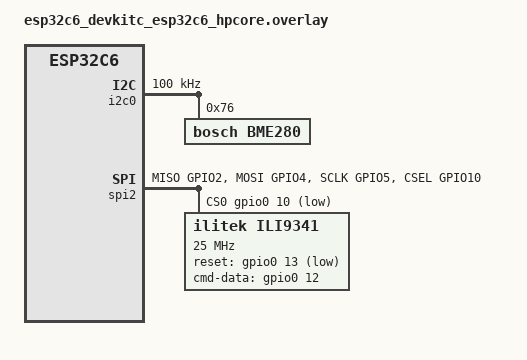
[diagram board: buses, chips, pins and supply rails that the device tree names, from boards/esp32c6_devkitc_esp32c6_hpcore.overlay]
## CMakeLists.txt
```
cmake_minimum_required(VERSION 3.20.0)

find_package(Zephyr REQUIRED HINTS $ENV{ZEPHYR_BASE})
project(smart_feeder)

target_include_directories(app PRIVATE include)

target_sources(app PRIVATE
    src/main.c
    src/shell_commands.c
    src/configuration.c
    src/init.c
    src/motor_control.c
    src/check_health.c
    src/watchdog.c
    src/communication.c
)
```

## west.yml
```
manifest:
  projects:
    - name: zephyr
      url: https://github.com/zephyrproject-rtos/zephyr
      revision: v4.3.0
      path: zephyr
      west-commands: scripts/west-commands.yml
      import: 
          path-prefix: deps
  self:
    path: app
```

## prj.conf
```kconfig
# Shell configuration
CONFIG_SHELL=y
CONFIG_SHELL_BACKEND_SERIAL=y

# Flash and NVS support
CONFIG_FLASH=y
CONFIG_FLASH_MAP=y
CONFIG_NVS=y
CONFIG_NVS_LOG_LEVEL_DBG=y

# Logging
CONFIG_LOG=y
CONFIG_LOG_DEFAULT_LEVEL=3

CONFIG_REBOOT=y
CONFIG_WATCHDOG=y
```

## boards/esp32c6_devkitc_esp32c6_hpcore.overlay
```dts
&pinctrl {
    i2c0_default: i2c0_default {
        group1 {
            pinmux = <I2C0_SDA_GPIO6>,
                     <I2C0_SCL_GPIO7>;
            bias-pull-up;
            drive-open-drain;
            output-high;
        };
    };

    spi2_default: spi2_default {
        group1 {
            pinmux = <SPIM2_MISO_GPIO2>,
                     <SPIM2_MOSI_GPIO4>,
                     <SPIM2_SCLK_GPIO5>;
        };
        group2 {
            pinmux = <SPIM2_CSEL_GPIO10>;
            output-low;
        };
    };
};

&i2c0 {
    status = "okay";
    pinctrl-0 = <&i2c0_default>;
    pinctrl-names = "default";
    clock-frequency = <I2C_BITRATE_STANDARD>;
    
    bme280: bme280@76 {
        compatible = "bosch,bme280";
        reg = <0x76>;
        label = "BME280";
    };
};

&spi2 {
    status = "okay";
    pinctrl-0 = <&spi2_default>;
    pinctrl-names = "default";
    cs-gpios = <&gpio0 10 GPIO_ACTIVE_LOW>;
    
    ili9341: ili9341@0 {
        compatible = "ilitek,ili9341";
        reg = <0>;
        label = "ILI9341";
        spi-max-frequency = <25000000>;
        reset-gpios = <&gpio0 13 GPIO_ACTIVE_LOW>;
        cmd-data-gpios = <&gpio0 12 GPIO_ACTIVE_HIGH>;
    };
};
```

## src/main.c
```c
#include <zephyr/kernel.h>
#include <zephyr/logging/log.h>
#include <zephyr/drivers/watchdog.h>
#include "init.h"
#include "motor_control.h"
#include "check_health.h"
#include "watchdog.h"
#include "communication.h"

LOG_MODULE_REGISTER(main, LOG_LEVEL_INF);

// TODO: search a way to run  test locally on our hardware instead of native sim
// TODO: the run + code checker should run now on our hardware too
// TODO: We can use a FOTA to actualize the firmware.
int main(void)
{
    /* INFO: start all the hardware related stuff */
    processes_init();

    /*INFO: start all the threads of the system */
    start_motor_control_thread();
    start_check_health_thread();
    start_comm_thread();

    while (1) {
        if (is_system_healthy()) {
            watchdog_feed();
        } else {
            LOG_WRN("System unhealthy");
        }

        k_sleep(K_MSEC(SUPERVISOR_CHECK_INTERVAL_MS));
    }

    return 0;
}
```

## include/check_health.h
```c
#ifndef CHECK_HEALTH_H
#define CHECK_HEALTH_H

#include <stdint.h>
#include <stdbool.h>

#define CHECK_HEALTH_STACK       512
#define CHECK_HEALTH_PRIORITY    5
#define THREAD_TIMEOUT_MS        500
#define HEALTH_CHECK_INTERVAL_MS 100

typedef enum {
    THREAD_MOTOR_CONTROL = 0,
    THREAD_COMMUNICATION,
    THREAD_COUNT
} thread_id_t;

/**
 * @brief: Starts the check health thread
 */
void start_check_health_thread(void);

/**
 * @brief: Threads call this to report they're alive
 * @param: thread_id Which thread is reporting
 */
// TODO: unit test left to do
void thread_report_alive(thread_id_t thread_id);

/**
 * @brief: Main supervisor calls this to check overall system health
 * @return: true if all monitored systems are healthy, false otherwise
 */
// TODO: unit tests left
bool is_system_healthy(void);

#ifdef SMART_FEEDER_UNIT_TEST
/**
 * @brief: Stops the motor control thread
 */
void stop_check_health_thread(void);
#endif

#endif
```

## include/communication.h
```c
#ifndef COMMUNICATION_H
#define COMMUNICATION_H

#define COMMUNICATION_STACK    512
#define COMMUNICATION_PRIORITY 4

/**
 * @brief: starts the communication thread
 */
void start_comm_thread(void);

#ifdef SMART_FEEDER_UNIT_TEST
/**
 * @brief: Stops the motor control thread
 */
void stop_comm_thread(void);
#endif

#endif
```

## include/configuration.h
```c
#ifndef CONFIGURATION_H
#define CONFIGURATION_H

#define CONFIG_ID 1

struct config {
    int random_value;
};

extern struct config cfg;

/**
 * @brief: Initialize the nvs to use it
 * @return: 0 on sucess
 */
int init_nvs(void);

/**
 * @brief: Save the current configuration to the nvs
 * @return: 0 on success
 */
int save_config(void);

/**
 * @brief: Reads the current config stored on the nvs
 * @return: 0 on success
 */
int load_config(void);

/**
 * @brief: Loads the defaults values if nothing is saved on the NVS
 */
void set_dflt_cfg(void);

#endif
```

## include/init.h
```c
#ifndef INIT_H
#define INIT_H

/**
 * @brief: Initialize all application subsystems
 *
 * @return: 0 on success, negative error code on failure
 */
int processes_init(void);

#endif
```

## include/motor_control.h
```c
#ifndef MOTOR_CONTROL_H
#define MOTOR_CONTROL_H

#define MOTOR_CTRL_STACK    512
#define MOTOR_CTRL_PRIORITY 1

/**
 * @brief: Starts the motor control thread
 */
void start_motor_control_thread(void);

#ifdef SMART_FEEDER_UNIT_TEST
/**
 * @brief: Stops the motor control thread
 */
void stop_motor_control_thread(void);
#endif

#endif
```

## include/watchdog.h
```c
#ifndef WATCHDOG_H
#define WATCHDOG_H

#define WDT_TIMEOUT_MS               1000
#define SUPERVISOR_CHECK_INTERVAL_MS 500

/**
 * @brief: feeds the watchdog so the board doesn't reset
 */
void watchdog_feed(void);

/**
 * @brief: Initializes the watchdog
 * @return: 0 on success, errorcode otherwise
 */
int init_watchdog(void);

/**
 * @brief: Disables the watchdog
 */
void watchdog_disable(void);

#endif
```

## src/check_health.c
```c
/**
 * @file: check_healt.c
 * @brief: Monitoring of the system.
 *
 * Here we have all the monitoring of the non time critical stuff, like battery, temp, etc.
 */
#include <zephyr/kernel.h>
#include <zephyr/logging/log.h>
#include "check_health.h"

LOG_MODULE_REGISTER(check_health, LOG_LEVEL_INF);
K_THREAD_STACK_DEFINE(health_stack_area, CHECK_HEALTH_STACK);

/* Local prototypes */
static bool check_threads_health(void);

static struct k_thread health_thread_data;
static struct {
    uint32_t last_heartbeat[THREAD_COUNT];
    struct k_spinlock lock;
    bool threads_ok;
    // TODO: here we will add other things like battery, temperature, etc
} health_status;

static k_tid_t health_tid = NULL;

/**
 * @brief: Thread that checks general system info
 */
void check_health_thread(void *p1, void *p2, void *p3)
{
    ARG_UNUSED(p1);
    ARG_UNUSED(p2);
    ARG_UNUSED(p3);

    size_t unused_stack;

    LOG_INF("Check health started at priority: %d", CHECK_HEALTH_PRIORITY);

    while (1) {
        k_thread_stack_space_get(&health_thread_data, &unused_stack);
        LOG_INF("Check health loop. Unused stack: %d bytes", unused_stack);

        check_threads_health();
        k_sleep(K_MSEC(HEALTH_CHECK_INTERVAL_MS));
    }
}

void start_check_health_thread(void)
{
    uint32_t now = k_uptime_get_32();

    for (int i = 0; i < THREAD_COUNT; i++) {
        health_status.last_heartbeat[i] = now;
    }
    health_status.threads_ok = true;

    health_tid = k_thread_create(&health_thread_data,
                                 health_stack_area,
                                 K_THREAD_STACK_SIZEOF(health_stack_area),
                                 check_health_thread,
                                 NULL,
                                 NULL,
                                 NULL,
                                 CHECK_HEALTH_PRIORITY,
                                 0,
                                 K_NO_WAIT);

    LOG_INF("Check health thread started (tid=%p)", (void *)health_tid);
}

// TODO: Unit tests
void thread_report_alive(thread_id_t thread_id)
{
    uint32_t now;

    if (thread_id >= THREAD_COUNT) {
        return;
    }

    now = k_uptime_get_32();
    k_spinlock_key_t key = k_spin_lock(&health_status.lock);
    health_status.last_heartbeat[thread_id] = now;
    k_spin_unlock(&health_status.lock, key);
}

/**
 * @brief: checks the health of all the threads
 * @return: true if all threads are ok, false otherwise
 */
static bool check_threads_health(void)
{
    uint32_t now = k_uptime_get_32();
    bool all_ok = true;

    for (int i = 0; i < THREAD_COUNT; i++) {
        uint32_t last_hb;
        uint32_t elapsed;

        k_spinlock_key_t key = k_spin_lock(&health_status.lock);
        last_hb = health_status.last_heartbeat[i];
        k_spin_unlock(&health_status.lock, key);

        elapsed = now - last_hb;
        if (elapsed > THREAD_TIMEOUT_MS) {
            LOG_INF("Thread %d not responding (last seen %u ms ago)", i, elapsed);
            all_ok = false;
        }
    }

    k_spinlock_key_t key = k_spin_lock(&health_status.lock);
    health_status.threads_ok = all_ok;
    k_spin_unlock(&health_status.lock, key);

    return all_ok;
}

bool is_system_healthy(void)
{
    bool healthy;
    k_spinlock_key_t key = k_spin_lock(&health_status.lock);
    // TODO:  we should add ands to check everything, like battery health
    healthy = health_status.threads_ok;
    k_spin_unlock(&health_status.lock, key);

    return healthy;
}

#ifdef SMART_FEEDER_UNIT_TEST
void stop_check_health_thread(void)
{
    if (health_tid != NULL) {
        LOG_INF("Stopping check health thread");
        k_thread_abort(health_tid);
        health_tid = NULL;
    }
}
#endif
```

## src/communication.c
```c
/**
 * @file: communication.c
 * @brief: Thread that is in charge of the comms.
 *
 * In this file, is the main communication thread, that will take charge of interfacing with the pc/app or other nodes
 */
#include <zephyr/kernel.h>
#include <zephyr/logging/log.h>
#include "communication.h"
#include "check_health.h"

LOG_MODULE_REGISTER(communication, LOG_LEVEL_INF);
K_THREAD_STACK_DEFINE(comm_stack_area, COMMUNICATION_STACK);

static struct k_thread communication_thread_data;

static k_tid_t comm_tid = NULL;

// TODO: should be always listenning and use work_queue when we need to transmit something
/**
 * @brief: starts the communication thread
 */
void comm_thread(void *p1, void *p2, void *p3)
{
    ARG_UNUSED(p1);
    ARG_UNUSED(p2);
    ARG_UNUSED(p3);

    size_t unused_stack;

    LOG_INF("Comm thread started with priority: %d", COMMUNICATION_PRIORITY);

    while (1) {
        k_thread_stack_space_get(&communication_thread_data, &unused_stack);
        thread_report_alive(THREAD_COMMUNICATION);
        LOG_INF("Communication loop. Unused stack: %d bytes", unused_stack);
        k_sleep(K_MSEC(100));
    }
}

void start_comm_thread(void)
{
    comm_tid = k_thread_create(&communication_thread_data,
                               comm_stack_area,
                               K_THREAD_STACK_SIZEOF(comm_stack_area),
                               comm_thread,
                               NULL,
                               NULL,
                               NULL,
                               COMMUNICATION_PRIORITY,
                               0,
                               K_NO_WAIT);

    LOG_INF("Communication thread started (tid=%p)", (void *)comm_tid);
}

#ifdef SMART_FEEDER_UNIT_TEST
void stop_comm_thread(void)
{
    if (comm_tid != NULL) {
        LOG_INF("Stopping communication thread");
        k_thread_abort(comm_tid);
        comm_tid = NULL;
    }
}

#endif /* ifdef MACRO */
```

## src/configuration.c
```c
/**
 * @file: configuration.c
 * @brief: NVS related things.
 *
 * Here we have all the things related to the configuration that we want on the non-volatile storage
 */
#include <zephyr/fs/nvs.h>
#include <zephyr/kernel.h>
#include <zephyr/device.h>
#include <zephyr/drivers/flash.h>
#include <zephyr/storage/flash_map.h>
#include <zephyr/logging/log.h>
#include "configuration.h"

LOG_MODULE_REGISTER(configuration, LOG_LEVEL_INF);
// TODO: add description to the file

struct config cfg;
struct nvs_fs fs;

int init_nvs(void)
{
    struct flash_pages_info info;
    int ret;

    fs.flash_device = FIXED_PARTITION_DEVICE(storage_partition);
    if (!device_is_ready(fs.flash_device)) {
        LOG_ERR("Flash device not ready\n");
        return -ENODEV;
    }

    fs.offset = FIXED_PARTITION_OFFSET(storage_partition);

    ret = flash_get_page_info_by_offs(fs.flash_device, fs.offset, &info);
    if (ret) {
        LOG_ERR("Unable to get page info: %d\n", ret);
        return ret;
    }

    fs.sector_size = info.size;
    fs.sector_count = 3;
    ret = nvs_mount(&fs);
    if (ret) {
        LOG_ERR("NVS mount failed: %d\n", ret);
        return ret;
    }

    LOG_INF("NVS initialized\n");
    return 0;
}

int save_config(void)
{
    int ret;

    ret = nvs_write(&fs, CONFIG_ID, &cfg, sizeof(cfg));
    if (ret < 0) {
        LOG_ERR("Failed to write config: %d\n", ret);
        return ret;
    }

    LOG_INF("Saved %d bytes\n", ret);
    return 0;
}

int load_config(void)
{
    int ret;

    ret = nvs_read(&fs, CONFIG_ID, &cfg, sizeof(cfg));
    if (ret < 0) {
        LOG_ERR("Failed to read config: %d\n", ret);
        return ret;
    }

    LOG_INF("Loaded %d bytes\n", ret);
    return 0;
}

void set_dflt_cfg(void)
{
    cfg.random_value = 0;
}
```

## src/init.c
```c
/**
 * @file: init.c
 * @brief: basic initialization.
 *
 * All the needed hardware things should be initialized here, so we can run the threads correctly
 */
#include <zephyr/logging/log.h>
#include "init.h"
#include "configuration.h"
#include "watchdog.h"

LOG_MODULE_REGISTER(init, LOG_LEVEL_INF);

int processes_init(void)
{
    int ret;

    LOG_INF("Starting initialization...");

    ret = init_nvs();
    if (ret < 0) {
        LOG_ERR("NVS init failed: %d", ret);
        return ret;
    }

    ret = load_config();
    if (ret < 0) {
        LOG_INF("No saved config, using defaults");
        set_dflt_cfg();
    }

    ret = init_watchdog();
    if (ret < 0) {
        LOG_ERR("Failed to initialize watchdog, system unsafe");
        return ret;
    }

    LOG_INF("Initialization complete");
    return 0;
}
```

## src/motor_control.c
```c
/**
 * @file: motor_control.c
 * @brief: Motor control functions.
 *
 * All the functions directly related to the control of the stepper motor should be here.
 */
#include <zephyr/kernel.h>
#include <zephyr/logging/log.h>
#include "motor_control.h"
#include "check_health.h"

LOG_MODULE_REGISTER(motor_control, LOG_LEVEL_INF);
K_THREAD_STACK_DEFINE(motor_stack_area, MOTOR_CTRL_STACK);

static struct k_thread motor_thread_data;
static k_tid_t motor_tid = NULL;

/**
 * @brief: Thread that is in charge of controlling the stepper motor
 */
void motor_control_thread(void *p1, void *p2, void *p3)
{
    ARG_UNUSED(p1);
    ARG_UNUSED(p2);
    ARG_UNUSED(p3);
    size_t unused_stack;

    LOG_INF("Motor control started at priority: %d", MOTOR_CTRL_PRIORITY);

    while (1) {
        thread_report_alive(THREAD_MOTOR_CONTROL);
        k_thread_stack_space_get(&motor_thread_data, &unused_stack);
        LOG_INF("Motor control loop. Unused Stack: %d bytes", unused_stack);
        k_sleep(K_MSEC(500));
    }
}

void start_motor_control_thread(void)
{
    motor_tid = k_thread_create(&motor_thread_data,
                                motor_stack_area,
                                K_THREAD_STACK_SIZEOF(motor_stack_area),
                                motor_control_thread,
                                NULL,
                                NULL,
                                NULL,
                                MOTOR_CTRL_PRIORITY,
                                0,
                                K_NO_WAIT);

    LOG_INF("Motor control thread started (tid=%p)", (void *)motor_tid);
}

#ifdef SMART_FEEDER_UNIT_TEST
void stop_motor_control_thread(void)
{
    if (motor_tid != NULL) {
        LOG_INF("Stopping motor control thread");
        k_thread_abort(motor_tid);
        motor_tid = NULL;
    }
}
#endif
```

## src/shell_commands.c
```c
/**
 * @file: shell_commands.c
 * @brief: Shell command handlers.
 *
 * Registers shell commands used by the app.
 */
#include <zephyr/shell/shell.h>
#include <zephyr/logging/log.h>
#include <zephyr/sys/reboot.h>
#include <stdlib.h>
#include "configuration.h"

// TODO: commit command
// TODO: restore dflt command

LOG_MODULE_REGISTER(console_shell, LOG_LEVEL_INF);

/**
 * @brief: relevant info from the driver.
 *
 * Usage:
 *   status
 */
static int cmd_status(const struct shell *shell, size_t argc, char **argv)
{
    ARG_UNUSED(argc);
    ARG_UNUSED(argv);

    shell_print(shell, "Current config: %d", cfg.random_value);

    return 0;
}

/**
 * @brief: Changes the value and saves it to the nvs.
 *
 * Usage:
 *   value <int>
 */
static int cmd_change_value(const struct shell *shell, size_t argc, char **argv)
{
    if (argc == 1) {
        shell_print(shell, "Random value: %d", cfg.random_value);
        return 0;
    } else if (argc == 2) {
        cfg.random_value = atoi(argv[1]);
        shell_print(shell, "changing value to: %d", cfg.random_value);
        return 0;
    }

    shell_print(shell, "Usage: value <int>");
    return -EINVAL;
}

/**
 * @brief: Cold reboots the system
 *
 * Usage:
 *     reboot
 */
static int cmd_reboot(const struct shell *shell, size_t argc, char **argv)
{
    ARG_UNUSED(argc);
    ARG_UNUSED(argv);

    shell_print(shell, "Rebooting the system . . .");
    sys_reboot(SYS_REBOOT_COLD);
    return 0;
}

/**
 * @brief: Saves the current config in the nvs
 *
 * Usage:
 *     commit
 */
static int cmd_commit(const struct shell *shell, size_t argc, char **argv)
{
    ARG_UNUSED(argc);
    ARG_UNUSED(argv);

    save_config();
    shell_print(shell, "Config saved in the NVS");
    return 0;
}

/**
 * @brief: Restores the default config
 *
 * Usage:
 *     default
 */
static int cmd_restore_dflt(const struct shell *shell, size_t argc, char **argv)
{
    ARG_UNUSED(argc);
    ARG_UNUSED(argv);

    set_dflt_cfg();
    shell_print(shell, "Default values restored");
    return 0;
}

/* Register shell commands */
SHELL_CMD_REGISTER(status, NULL, "Print relevant info", cmd_status);
SHELL_CMD_REGISTER(value, NULL, "Change the random value", cmd_change_value);
SHELL_CMD_REGISTER(reboot, NULL, "Colds reboots the system", cmd_reboot);
SHELL_CMD_REGISTER(commit, NULL, "Saves the current config in the NVS", cmd_commit);
SHELL_CMD_REGISTER(default, NULL, "Restores the default values", cmd_restore_dflt);
```
